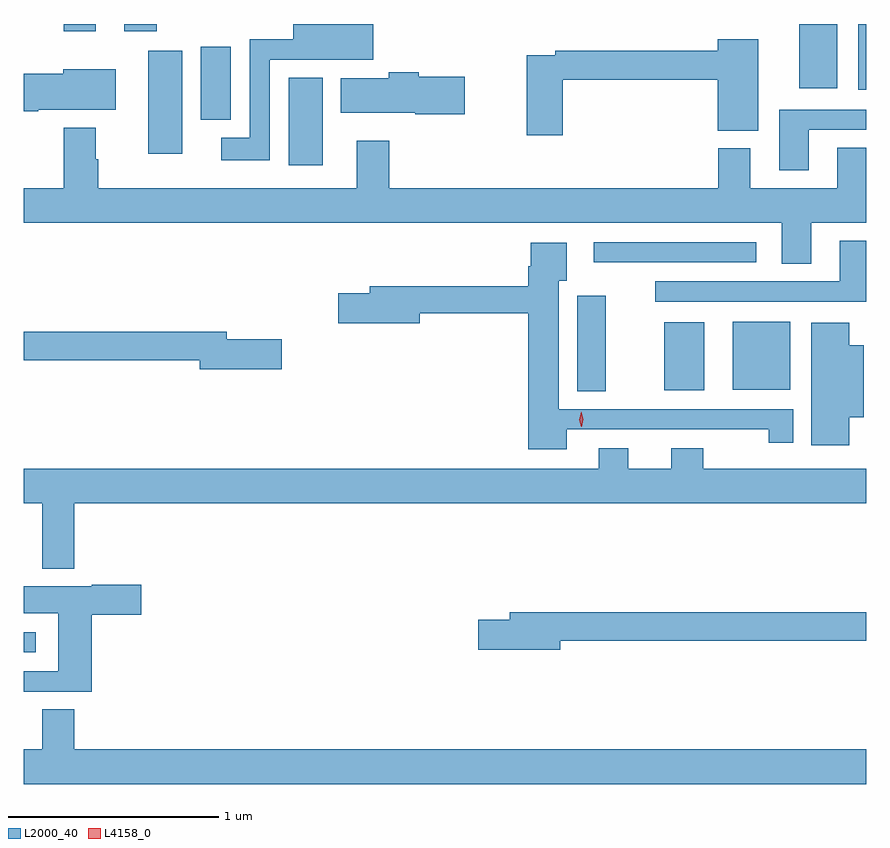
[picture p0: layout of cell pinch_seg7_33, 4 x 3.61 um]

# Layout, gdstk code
import gdstk
lib = gdstk.Library(unit=1e-6, precision=1e-09)
def R(c, l, rs):  # rectangles x0, y0, x1, y1
    for r in rs: c.add(gdstk.rectangle(r[:2], r[2:], *l))
def P(c, l, *ps):  # polygons
    for p in ps: c.add(gdstk.Polygon(p, *l))
L2000_40 = (2000, 40)
L4158_0 = (4158, 0)

pinch_seg7_33 = lib.new_cell('pinch_seg7_33')
R(pinch_seg7_33, L2000_40, [(1055.839,1049.193,1055.896,1049.289), (1058.468,1050.433,1058.602,1050.886), (1058.879,1050.437,1059.07,1050.76), (1059.206,1050.44,1059.478,1050.763), (1058.544,1051.044,1059.316,1051.14), (1057.097,1051.506,1057.258,1051.921), (1056.431,1051.56,1056.592,1052.05), (1056.68,1051.721,1056.823,1052.068), (1059.8,1051.865,1059.839,1052.176), (1059.521,1051.871,1059.7,1052.176), (1056.029,1052.142,1056.181,1052.176), (1056.317,1052.142,1056.47,1052.176)])
P(pinch_seg7_33, L2000_40, [(1057.008,1052.007),(1057.254,1052.007),(1057.254,1052.006),(1057.498,1052.006),(1057.498,1052.176),(1057.118,1052.176),(1057.118,1052.103),(1056.912,1052.103),(1056.912,1051.636),(1056.777,1051.636),(1056.777,1051.529),(1057.008,1051.529)],
  [(1058.399,1051.912),(1059.134,1051.912),(1059.134,1051.67),(1059.325,1051.67),(1059.325,1052.104),(1059.134,1052.104),(1059.134,1052.048),(1058.362,1052.048),(1058.362,1052.028),(1058.228,1052.028),(1058.228,1051.647),(1058.399,1051.647)],
  [(1055.908,1051.769),(1056.277,1051.769),(1056.277,1051.96),(1056.026,1051.96),(1056.026,1051.94),(1055.839,1051.94),(1055.839,1051.762),(1055.908,1051.762)],
  [(1057.933,1051.925),(1057.715,1051.925),(1057.715,1051.948),(1057.573,1051.948),(1057.573,1051.918),(1057.343,1051.918),(1057.343,1051.754),(1057.698,1051.754),(1057.698,1051.747),(1057.933,1051.747)],
  [(1059.565,1051.674),(1059.839,1051.674),(1059.839,1051.77),(1059.425,1051.77),(1059.425,1051.482),(1059.565,1051.482)],
  [(1059.577,1051.232),(1059.839,1051.232),(1059.839,1051.589),(1059.701,1051.589),(1059.701,1051.396),(1059.289,1051.396),(1059.289,1051.585),(1059.137,1051.585),(1059.137,1051.396),(1057.574,1051.396),(1057.574,1051.621),(1057.421,1051.621),(1057.421,1051.396),(1056.194,1051.396),(1056.194,1051.535),(1056.181,1051.535),(1056.181,1051.684),(1056.029,1051.684),(1056.029,1051.396),(1055.839,1051.396),(1055.839,1051.232),(1059.437,1051.232),(1059.437,1051.039),(1059.577,1051.039)],
  [(1059.839,1051.147),(1059.713,1051.147),(1059.713,1050.954),(1058.838,1050.954),(1058.838,1050.858),(1059.839,1050.858)],
  [(1058.416,1050.252),(1059.148,1050.252),(1059.148,1050.251),(1059.376,1050.251),(1059.376,1050.189),(1059.493,1050.189),(1059.493,1050.348),(1058.38,1050.348),(1058.38,1050.956),(1058.416,1050.956),(1058.416,1051.138),(1058.246,1051.138),(1058.246,1051.025),(1058.234,1051.025),(1058.234,1050.931),(1057.481,1050.931),(1057.481,1050.897),(1057.332,1050.897),(1057.332,1050.755),(1057.72,1050.755),(1057.72,1050.802),(1058.234,1050.802),(1058.234,1050.158),(1058.416,1050.158)],
  [(1059.757,1050.308),(1059.826,1050.308),(1059.826,1050.652),(1059.757,1050.652),(1059.757,1050.757),(1059.578,1050.757),(1059.578,1050.176),(1059.757,1050.176)],
  [(1057.063,1050.68),(1056.802,1050.68),(1056.802,1050.716),(1055.839,1050.716),(1055.839,1050.58),(1056.674,1050.58),(1056.674,1050.538),(1057.063,1050.538)],
  [(1056.08,1049.9),(1059.839,1049.9),(1059.839,1050.064),(1059.065,1050.064),(1059.065,1050.163),(1058.912,1050.163),(1058.912,1050.064),(1058.71,1050.064),(1058.71,1050.163),(1058.57,1050.163),(1058.57,1050.064),(1055.839,1050.064),(1055.839,1049.9),(1055.927,1049.9),(1055.927,1049.591),(1056.08,1049.591)],
  [(1056.161,1049.372),(1056.397,1049.372),(1056.397,1049.514),(1056.163,1049.514),(1056.163,1049.506),(1055.839,1049.506),(1055.839,1049.378),(1056.002,1049.378),(1056.002,1049.103),(1055.839,1049.103),(1055.839,1049.007),(1056.161,1049.007)],
  [(1058.386,1049.248),(1059.839,1049.248),(1059.839,1049.384),(1058.147,1049.384),(1058.147,1049.348),(1057.998,1049.348),(1057.998,1049.206),(1058.386,1049.206)],
  [(1059.839,1048.732),(1056.08,1048.732),(1056.08,1048.922),(1055.927,1048.922),(1055.927,1048.732),(1055.839,1048.732),(1055.839,1048.568),(1059.839,1048.568)])
P(pinch_seg7_33, L4158_0, [(1058.487,1050.263),(1058.476,1050.298),(1058.485,1050.335),(1058.485,1050.335),(1058.485,1050.335),(1058.496,1050.299),(1058.488,1050.263),(1058.488,1050.263)])

lib.write_gds('pinch_seg7_33.gds')
